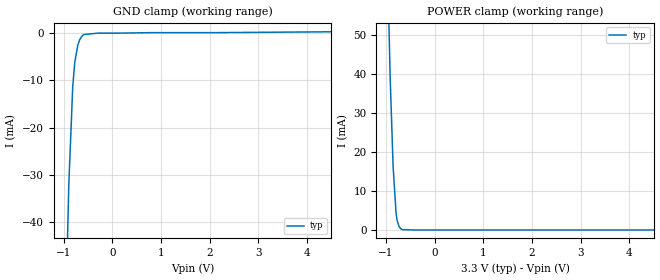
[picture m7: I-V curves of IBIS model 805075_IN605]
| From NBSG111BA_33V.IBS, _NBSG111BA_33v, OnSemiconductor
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| COPYRIGHT(C) MENTOR GRAPHICS CORPORATION 2001 ALL
| RIGHTS RESERVED. THIS WORK CONTAINS PROPRIETARY
| INFORMATION WHICH IS THE PROPERTY OF MENTOR GRAPHICS
| CORPORATION OR ITS LICENSORS. USE OF THESE MATERIALS
| IS SUBJECT TO THE TERMS BELOW.
| USE: YOU MAY USE IBIS MODELS SOLELY FOR DEVELOPING
| PRINTED CIRCUIT BOARD DESIGNS. NO OTHER USE OR
| DISTRIBUTION OF THESE MATERIALS IS PERMITTED.
| Model Application Version 1.89 2/18/99.
[Model] 805075_IN605
Model_type Input
Vinl = 800.0mV
Vinh = 2.000V
C_comp 500.0fF NA NA
| variable typ   min   max
[Voltage Range] 3.300V NA NA
[GND Clamp Reference] 0.000V NA NA
[POWER Clamp Reference] 3.300V NA NA
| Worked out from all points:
|   GND clamp passes 1 mA (typ) near -0.64 V on its own axis
|   POWER clamp passes 1 mA (typ) near -0.74 V on its own axis
[GND Clamp]
-3.3V     -1.249A    NA         NA
-1.034V   -92.6mA    NA         NA
-892mV    -32mA      NA         NA
-811mV    -11.3mA    NA         NA
-770mV    -6.3mA     NA         NA
-709mV    -2.7mA     NA         NA
-669mV    -1.5mA     NA         NA
-628mV    -800uA     NA         NA
-588mV    -400uA     NA         NA
-294mV    -100uA     NA         NA
6.6V      342.9uA    NA         NA
[POWER Clamp]
-3.3V     1.574A     NA         NA
-1.078V   125.8mA    NA         NA
-916mV    39.14mA    NA         NA
-855mV    16.24mA    NA         NA
-794mV    4.249mA    NA         NA
-774mV    2.55mA     NA         NA
-733mV    853.5uA    NA         NA
-693mV    256.5uA    NA         NA
-652.5mV  62.74uA    NA         NA
-612mV    62.74uA    NA         NA
-408mV    0A         NA         NA
6.6V      0A         NA         NA
